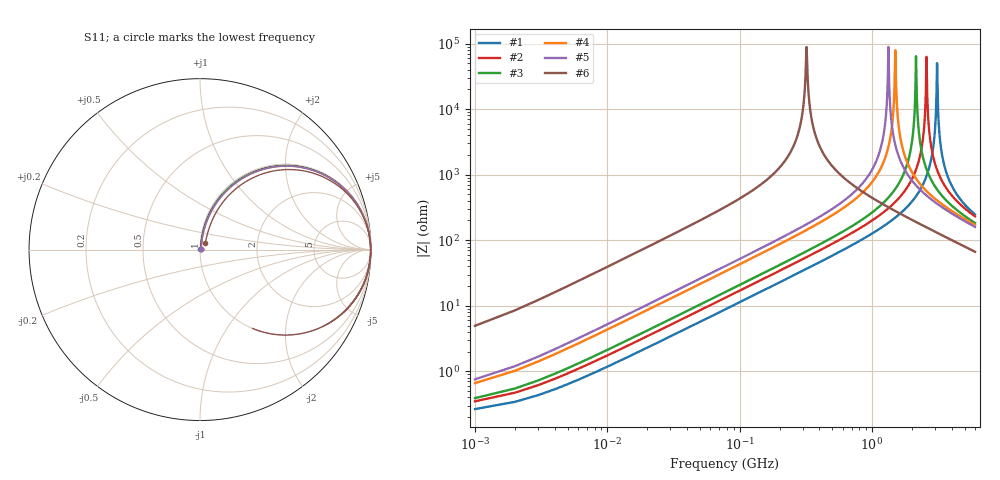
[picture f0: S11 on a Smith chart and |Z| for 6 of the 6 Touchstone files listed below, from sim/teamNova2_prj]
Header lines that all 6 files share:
! Series-thru 2-port: part connected between port 1 and port 2.
# Hz S RI R 50
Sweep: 1 MHz to 6 GHz
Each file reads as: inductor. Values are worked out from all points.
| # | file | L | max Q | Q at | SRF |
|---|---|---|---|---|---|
| 1 | APV_AHW2012C-18NJTF.s2p | 18 nH | 73.7 | 1.37 GHz | 3.09 GHz |
| 2 | APV_AHW2012C-27NJTF.s2p | 27 nH | 73.6 | 1.13 GHz | 2.57 GHz |
| 3 | APV_AHW2012C-33NJTF.s2p | 33 nH | 73.9 | 987 MHz | 2.14 GHz |
| 4 | APV_AHW2012C-68NJTF.s2p | 68 nH | 63.7 | 690 MHz | 1.49 GHz |
| 5 | APV_AHW2012C-82NJTF.s2p | 82 nH | 66.8 | 613 MHz | 1.32 GHz |
| 6 | APV_AHW2012C-R62JTF.s2p | 620 nH | 35.8 | 145 MHz | 319 MHz |
